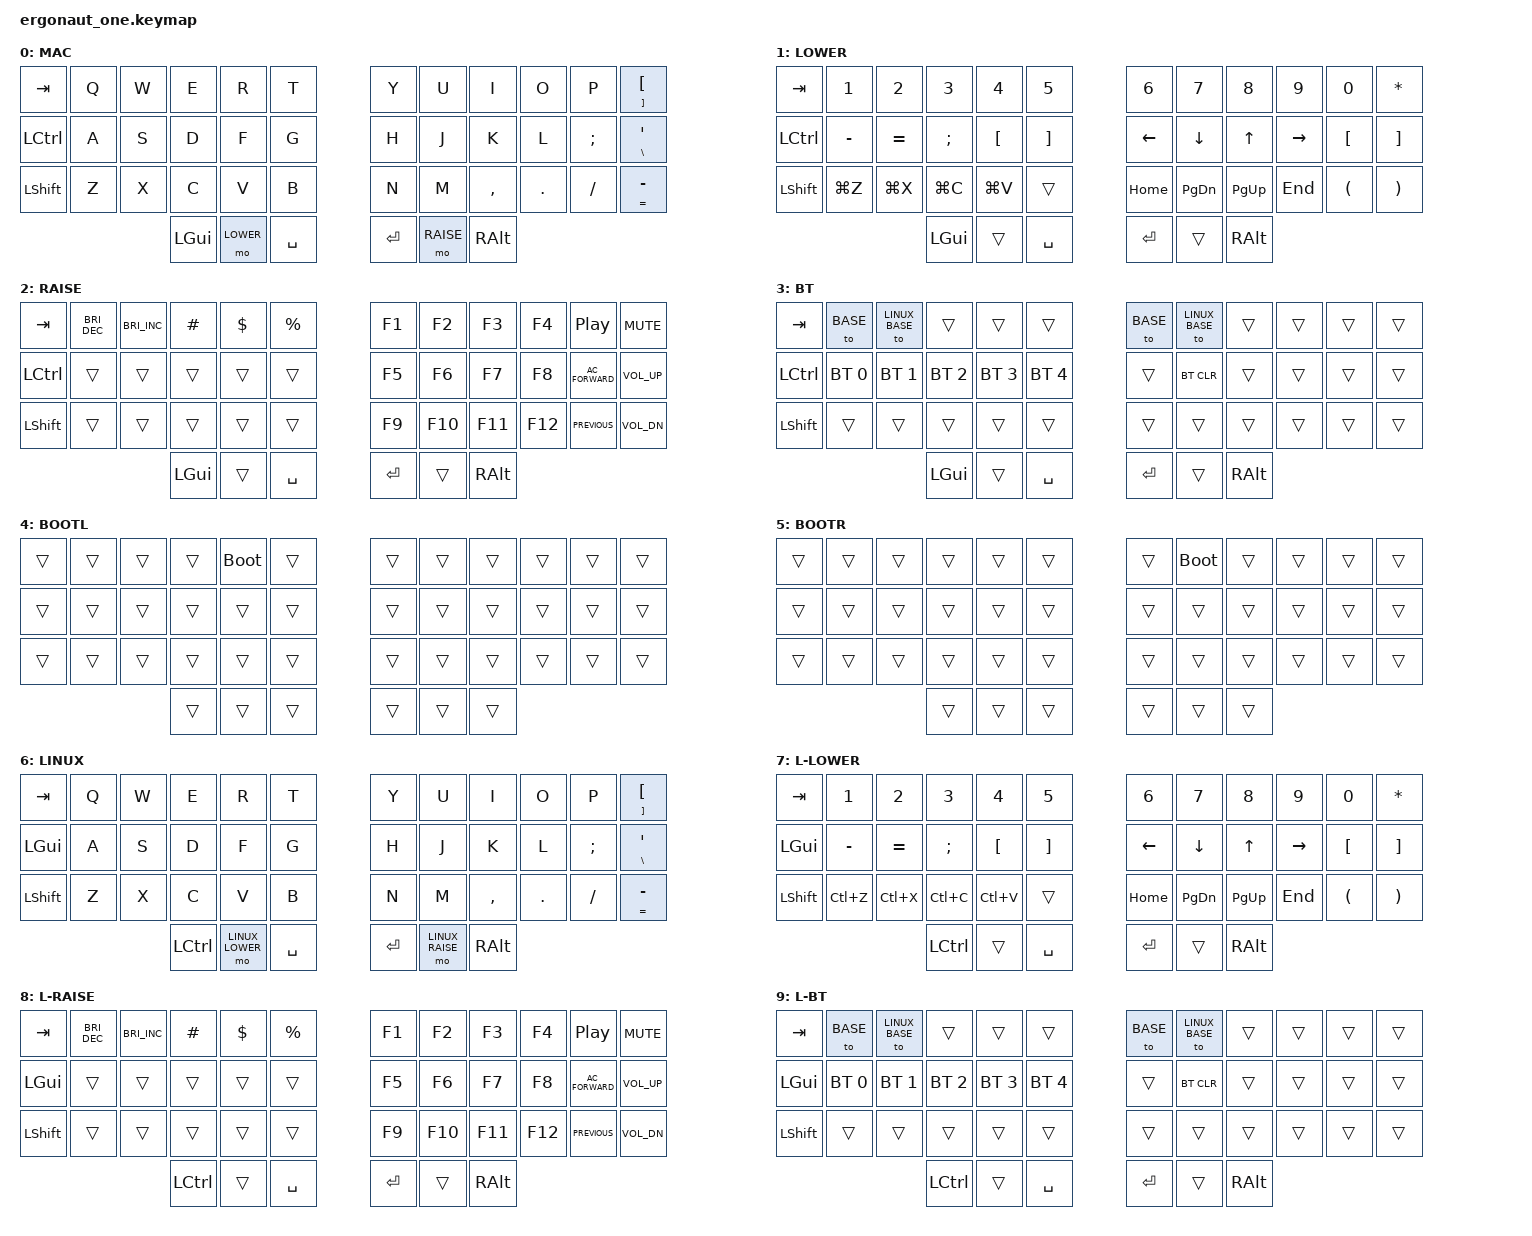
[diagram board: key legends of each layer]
#include <behaviors.dtsi>
#include <dt-bindings/zmk/keys.h>
#include <dt-bindings/zmk/bt.h>

#define BASE 0
#define LOWER 1
#define RAISE 2
#define BT 3
#define BOOTL 4
#define BOOTR 5

#define LINUX_BASE 6
#define LINUX_LOWER 7
#define LINUX_RAISE 8
#define LINUX_BT 9

/ {
    combos {
        compatible = "zmk,combos";

        combo_esc {
            timeout-ms = <50>;
            key-positions = <1 2>;
            bindings = <&kp ESC>;
        };

        combo_backspace {
            timeout-ms = <50>;
            key-positions = <9 10>;
            layers = <BASE RAISE LINUX_BASE LINUX_RAISE>;
            bindings = <&kp BSPC>;
        };

        combo_delete {
            timeout-ms = <50>;
            key-positions = <21 22>;
            bindings = <&kp DEL>;
        };

        boot_left {
            timeout-ms = <50>;
            slow-release;
            layers = <BASE LOWER RAISE BT LINUX_BASE LINUX_LOWER LINUX_RAISE LINUX_BT>;
            key-positions = <0 24 5 29>;
            bindings = <&mo BOOTL>;
        };

        boot_right {
            timeout-ms = <50>;
            slow-release;
            layers = <BASE LOWER RAISE BT LINUX_BASE LINUX_LOWER LINUX_RAISE LINUX_BT>;
            key-positions = <6 30 11 35>;
            bindings = <&mo BOOTR>;
        };
    };

    keymap {
        compatible = "zmk,keymap";

        default_layer {
            display-name = "MAC";
            bindings = <
                &kp TAB   &kp Q     &kp W     &kp E     &kp R     &kp T         &kp Y     &kp U      &kp I      &kp O     &kp P      &mt RBKT LBKT
                &kp LCTRL &kp A     &kp S     &kp D     &kp F     &kp G         &kp H     &kp J      &kp K      &kp L     &kp SEMI   &mt BSLH SQT
                &kp LSHFT &kp Z     &kp X     &kp C     &kp V     &kp B         &kp N     &kp M      &kp COMMA  &kp DOT   &kp FSLH   &mt EQUAL MINUS
                                      &kp LGUI  &mo LOWER &kp SPACE  &kp RET       &mo RAISE &kp RALT
            >;
        };

        lower_layer {
            display-name = "LOWER";
            bindings = <
                &kp TAB   &kp N1    &kp N2    &kp N3    &kp N4    &kp N5        &kp N6    &kp N7     &kp N8     &kp N9    &kp N0     &kp STAR
                &kp LCTRL &kp MINUS &kp EQUAL &kp SEMI  &kp LBKT  &kp RBKT      &kp LEFT  &kp DOWN   &kp UP     &kp RIGHT &kp LBKT   &kp RBKT
                &kp LSHFT &kp LG(Z) &kp LG(X) &kp LG(C) &kp LG(V) &trans        &kp HOME  &kp PG_DN  &kp PG_UP  &kp END   &kp LPAR   &kp RPAR
                                      &kp LGUI  &trans    &kp SPACE  &kp RET      &trans    &kp RALT
            >;
        };

        raise_layer {
            display-name = "RAISE";
            bindings = <
                &kp TAB   &kp C_BRIGHTNESS_DEC &kp C_BRIGHTNESS_INC &kp HASH  &kp DLLR  &kp PRCNT     &kp F1    &kp F2     &kp F3     &kp F4    &kp C_PP          &kp C_MUTE
                &kp LCTRL &trans               &trans               &trans    &trans    &trans         &kp F5    &kp F6     &kp F7     &kp F8    &kp C_AC_FORWARD  &kp C_VOL_UP
                &kp LSHFT &trans               &trans               &trans    &trans    &trans         &kp F9    &kp F10    &kp F11    &kp F12   &kp C_PREVIOUS    &kp C_VOL_DN
                                                                    &kp LGUI  &trans    &kp SPACE      &kp RET   &trans       &kp RALT
            >;
        };

        bt_layer {
            display-name = "BT";
            bindings = <
                &kp TAB   &to BASE     &to LINUX_BASE &trans       &trans       &trans        &to BASE     &to LINUX_BASE &trans       &trans       &trans     &trans
                &kp LCTRL &bt BT_SEL 0 &bt BT_SEL 1   &bt BT_SEL 2 &bt BT_SEL 3 &bt BT_SEL 4  &trans       &bt BT_CLR     &trans       &trans       &trans     &trans
                &kp LSHFT &trans       &trans         &trans       &trans       &trans        &trans       &trans         &trans       &trans       &trans     &trans
                                            &kp LGUI   &trans       &kp SPACE    &kp RET       &trans       &kp RALT
            >;
        };

        boot_left_layer {
            display-name = "BOOTL";
            bindings = <
                &trans &trans &trans &trans &bootloader &trans      &trans &trans      &trans &trans &trans &trans
                &trans &trans &trans &trans &trans      &trans      &trans &trans      &trans &trans &trans &trans
                &trans &trans &trans &trans &trans      &trans      &trans &trans      &trans &trans &trans &trans
                              &trans &trans &trans      &trans      &trans &trans
            >;
        };

        boot_right_layer {
            display-name = "BOOTR";
            bindings = <
                &trans &trans &trans &trans &trans &trans      &trans &bootloader &trans &trans &trans &trans
                &trans &trans &trans &trans &trans &trans      &trans &trans      &trans &trans &trans &trans
                &trans &trans &trans &trans &trans &trans      &trans &trans      &trans &trans &trans &trans
                              &trans &trans &trans &trans      &trans &trans
            >;
        };

        linux_base_layer {
            display-name = "LINUX";
            bindings = <
                &kp TAB   &kp Q     &kp W           &kp E     &kp R     &kp T             &kp Y     &kp U           &kp I      &kp O     &kp P      &mt RBKT LBKT
                &kp LGUI  &kp A     &kp S           &kp D     &kp F     &kp G             &kp H     &kp J           &kp K      &kp L     &kp SEMI   &mt BSLH SQT
                &kp LSHFT &kp Z     &kp X           &kp C     &kp V     &kp B             &kp N     &kp M           &kp COMMA  &kp DOT   &kp FSLH   &mt EQUAL MINUS
                                      &kp LCTRL      &mo LINUX_LOWER &kp SPACE  &kp RET   &mo LINUX_RAISE &kp RALT
            >;
        };

        linux_lower_layer {
            display-name = "L-LOWER";
            bindings = <
                &kp TAB   &kp N1    &kp N2    &kp N3    &kp N4    &kp N5        &kp N6    &kp N7     &kp N8     &kp N9    &kp N0     &kp STAR
                &kp LGUI  &kp MINUS &kp EQUAL &kp SEMI  &kp LBKT  &kp RBKT      &kp LEFT  &kp DOWN   &kp UP     &kp RIGHT &kp LBKT   &kp RBKT
                &kp LSHFT &kp LC(Z) &kp LC(X) &kp LC(C) &kp LC(V) &trans        &kp HOME  &kp PG_DN  &kp PG_UP  &kp END   &kp LPAR   &kp RPAR
                                      &kp LCTRL &trans    &kp SPACE  &kp RET      &trans    &kp RALT
            >;
        };

        linux_raise_layer {
            display-name = "L-RAISE";
            bindings = <
                &kp TAB   &kp C_BRIGHTNESS_DEC &kp C_BRIGHTNESS_INC &kp HASH  &kp DLLR  &kp PRCNT     &kp F1    &kp F2     &kp F3     &kp F4    &kp C_PP          &kp C_MUTE
                &kp LGUI  &trans               &trans               &trans    &trans    &trans         &kp F5    &kp F6     &kp F7     &kp F8    &kp C_AC_FORWARD  &kp C_VOL_UP
                &kp LSHFT &trans               &trans               &trans    &trans    &trans         &kp F9    &kp F10    &kp F11    &kp F12   &kp C_PREVIOUS    &kp C_VOL_DN
                                                                    &kp LCTRL &trans    &kp SPACE      &kp RET   &trans       &kp RALT
            >;
        };

        linux_bt_layer {
            display-name = "L-BT";
            bindings = <
                &kp TAB   &to BASE     &to LINUX_BASE &trans       &trans       &trans        &to BASE     &to LINUX_BASE &trans       &trans       &trans     &trans
                &kp LGUI  &bt BT_SEL 0 &bt BT_SEL 1   &bt BT_SEL 2 &bt BT_SEL 3 &bt BT_SEL 4  &trans       &bt BT_CLR     &trans       &trans       &trans     &trans
                &kp LSHFT &trans       &trans         &trans       &trans       &trans        &trans       &trans         &trans       &trans       &trans     &trans
                                            &kp LCTRL  &trans       &kp SPACE    &kp RET       &trans       &kp RALT
            >;
        };
    };

    conditional_layers {
        compatible = "zmk,conditional-layers";

        bt_tri_layer {
            if-layers = <LOWER RAISE>;
            then-layer = <BT>;
        };

        linux_bt_tri_layer {
            if-layers = <LINUX_LOWER LINUX_RAISE>;
            then-layer = <LINUX_BT>;
        };
    };
};
